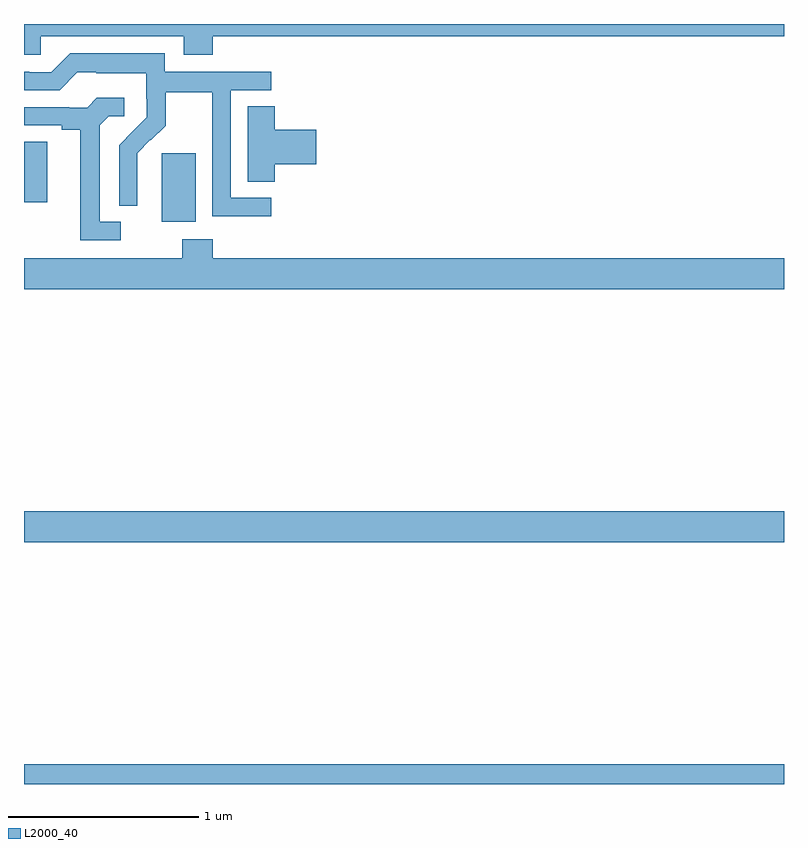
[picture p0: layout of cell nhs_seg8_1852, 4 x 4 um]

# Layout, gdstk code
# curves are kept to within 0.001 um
import gdstk
lib = gdstk.Library(unit=1e-6, precision=1e-09)
def R(c, l, rs):  # rectangles x0, y0, x1, y1
    for r in rs: c.add(gdstk.rectangle(r[:2], r[2:], *l))
def P(c, l, *ps):  # polygons
    for p in ps: c.add(gdstk.Polygon(p, *l))
L2000_40 = (2000, 40)

nhs_seg8_1852 = lib.new_cell('nhs_seg8_1852')
R(nhs_seg8_1852, L2000_40, [(229,1109.9,233,1110.004), (229,1111.172,233,1111.336), (229.724,1112.858,229.903,1113.219), (229,1112.961,229.123,1113.281)])
P(nhs_seg8_1852, L2000_40, [(229.994,1113.836),(233,1113.836),(233,1113.9),(229,1113.9),(229,1113.738),(229.089,1113.738),(229.089,1113.836),(229.841,1113.836),(229.841,1113.737),(229.994,1113.737)],
  [(230.302,1112.985),(230.088,1112.985),(230.088,1113.552),(230.302,1113.552),(230.302,1113.648),(229.74,1113.648),(229.74,1113.745),(229.243,1113.745),(229.143,1113.645),(229.028,1113.645),(229.028,1113.648),(229,1113.648),(229,1113.552),(229.188,1113.552),(229.281,1113.645),(229.381,1113.645),(229.381,1113.641),(229.644,1113.641),(229.644,1113.507),(229.646,1113.507),(229.646,1113.41),(229.5,1113.262),(229.5,1112.944),(229.596,1112.944),(229.595,1113.221),(229.665,1113.291),(229.668,1113.288),(229.745,1113.365),(229.745,1113.54),(229.99,1113.54),(229.99,1113.316),(229.992,1113.316),(229.992,1112.887),(230.302,1112.887)],
  [(229.51,1112.859),(229.399,1112.859),(229.399,1113.367),(229.446,1113.414),(229.528,1113.414),(229.528,1113.511),(229.384,1113.511),(229.332,1113.459),(229.238,1113.459),(229.238,1113.462),(229,1113.462),(229,1113.366),(229.199,1113.366),(229.199,1113.344),(229.295,1113.344),(229.295,1112.763),(229.51,1112.763)],
  [(230.321,1113.161),(230.539,1113.161),(230.539,1113.344),(230.321,1113.344),(230.321,1113.467),(230.177,1113.467),(230.177,1113.07),(230.321,1113.07)],
  [(233,1112.668),(229.994,1112.668),(229.994,1112.767),(229.834,1112.767),(229.834,1112.668),(229,1112.668),(229,1112.504),(233,1112.504)])

lib.write_gds('nhs_seg8_1852.gds')
